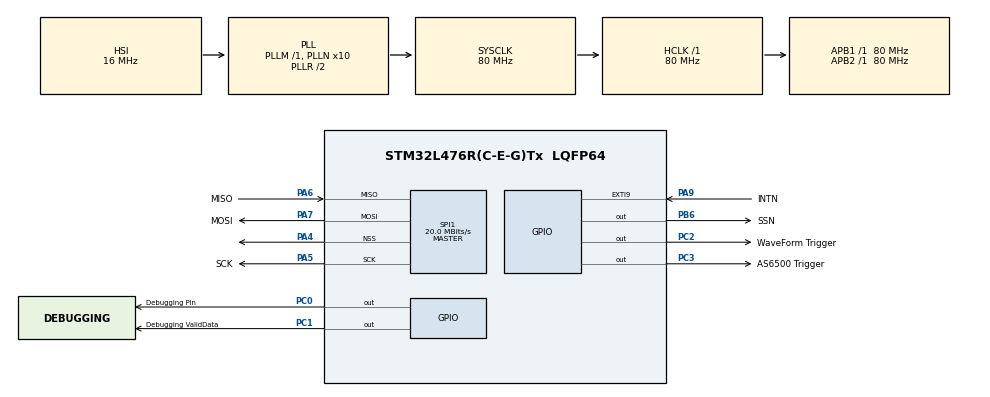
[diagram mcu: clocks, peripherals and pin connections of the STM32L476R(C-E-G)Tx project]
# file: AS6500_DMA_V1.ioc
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Dma.Request0=SPI1_RX
Dma.Request1=SPI1_TX
Dma.SPI1_RX.0.Direction=DMA_PERIPH_TO_MEMORY
Dma.SPI1_RX.0.Instance=DMA1_Channel2
Dma.SPI1_RX.0.MemDataAlignment=DMA_MDATAALIGN_BYTE
Dma.SPI1_RX.0.MemInc=DMA_MINC_ENABLE
Dma.SPI1_RX.0.Mode=DMA_NORMAL
Dma.SPI1_RX.0.PeriphDataAlignment=DMA_PDATAALIGN_BYTE
Dma.SPI1_RX.0.PeriphInc=DMA_PINC_DISABLE
Dma.SPI1_RX.0.Priority=DMA_PRIORITY_VERY_HIGH
Dma.SPI1_TX.1.Direction=DMA_MEMORY_TO_PERIPH
Dma.SPI1_TX.1.Instance=DMA1_Channel3
Dma.SPI1_TX.1.MemDataAlignment=DMA_MDATAALIGN_BYTE
Dma.SPI1_TX.1.MemInc=DMA_MINC_ENABLE
Dma.SPI1_TX.1.Mode=DMA_NORMAL
Dma.SPI1_TX.1.PeriphDataAlignment=DMA_PDATAALIGN_BYTE
Dma.SPI1_TX.1.PeriphInc=DMA_PINC_DISABLE
Dma.SPI1_TX.1.Priority=DMA_PRIORITY_VERY_HIGH
Mcu.Family=STM32L4
Mcu.Name=STM32L476R(C-E-G)Tx
Mcu.Package=LQFP64
NVIC.DMA1_Channel2_IRQn=true\:0\:0\:false\:false\:true\:false\:true\:true
NVIC.DMA1_Channel3_IRQn=true\:0\:0\:false\:false\:true\:false\:true\:true
NVIC.EXTI9_5_IRQn=true\:0\:0\:false\:false\:true\:true\:true\:true
NVIC.PriorityGroup=NVIC_PRIORITYGROUP_4
PA13\ (JTMS-SWDIO).GPIO_Label=TMS
PA13\ (JTMS-SWDIO).Mode=Serial_Wire
PA13\ (JTMS-SWDIO).Signal=SYS_JTMS-SWDIO
PA14\ (JTCK-SWCLK).GPIO_Label=TCK
PA14\ (JTCK-SWCLK).Mode=Serial_Wire
PA14\ (JTCK-SWCLK).Signal=SYS_JTCK-SWCLK
PA4.GPIO_Speed=GPIO_SPEED_FREQ_HIGH
PA4.Mode=NSS_Signal_Hard_Output
PA4.Signal=SPI1_NSS
PA5.GPIO_Label=SCK
PA5.GPIO_PuPd=GPIO_PULLDOWN
PA5.GPIO_Speed=GPIO_SPEED_FREQ_HIGH
PA5.Mode=Full_Duplex_Master
PA5.Signal=SPI1_SCK
PA6.GPIO_Label=MISO
PA6.GPIO_PuPd=GPIO_PULLDOWN
PA6.GPIO_Speed=GPIO_SPEED_FREQ_HIGH
PA6.Mode=Full_Duplex_Master
PA6.Signal=SPI1_MISO
PA7.GPIO_Label=MOSI
PA7.GPIO_PuPd=GPIO_PULLDOWN
PA7.GPIO_Speed=GPIO_SPEED_FREQ_HIGH
PA7.Mode=Full_Duplex_Master
PA7.Signal=SPI1_MOSI
PA9.GPIO_Label=INTN
PA9.GPIO_ModeDefaultEXTI=GPIO_MODE_IT_RISING_FALLING
PA9.GPIO_PuPd=GPIO_NOPULL
PA9.Signal=GPXTI9
PB3\ (JTDO-TRACESWO).GPIO_Label=SWO
PB3\ (JTDO-TRACESWO).Signal=SYS_JTDO-SWO
PB6.GPIO_FM6=__NULL
PB6.GPIO_Label=SSN
PB6.GPIO_PuPd=GPIO_PULLUP
PB6.GPIO_Speed=GPIO_SPEED_FREQ_HIGH
PB6.PinState=GPIO_PIN_SET
PB6.Signal=GPIO_Output
PC0.GPIO_Label=Debugging Pin
PC0.GPIO_PuPd=GPIO_PULLDOWN
PC0.GPIO_Speed=GPIO_SPEED_FREQ_HIGH
PC0.Signal=GPIO_Output
PC1.GPIO_Label=Debugging ValidData
PC1.GPIO_PuPd=GPIO_PULLDOWN
PC1.GPIO_Speed=GPIO_SPEED_FREQ_HIGH
PC1.Signal=GPIO_Output
PC2.GPIO_Label=WaveForm Trigger
PC2.GPIO_PuPd=GPIO_PULLDOWN
PC2.GPIO_Speed=GPIO_SPEED_FREQ_HIGH
PC2.Signal=GPIO_Output
PC3.GPIO_Label=AS6500 Trigger
PC3.GPIO_PuPd=GPIO_PULLDOWN
PC3.GPIO_Speed=GPIO_SPEED_FREQ_HIGH
PC3.Signal=GPIO_Output
ProjectManager.HeapSize=0x200
ProjectManager.StackSize=0x400
ProjectManager.TargetToolchain=STM32CubeIDE
RCC.ADCFreq_Value=64000000
RCC.AHBFreq_Value=80000000
RCC.APB1Freq_Value=80000000
RCC.APB1TimFreq_Value=80000000
RCC.APB2Freq_Value=80000000
RCC.APB2TimFreq_Value=80000000
RCC.CortexFreq_Value=80000000
RCC.HCLKFreq_Value=80000000
RCC.HSE_VALUE=8000000
RCC.HSI_VALUE=16000000
RCC.LSE_VALUE=32768
RCC.MSI_VALUE=4000000
RCC.PLLN=10
RCC.PLLSourceVirtual=RCC_PLLSOURCE_HSI
RCC.PREFETCH_ENABLE=1
RCC.SYSCLKFreq_VALUE=80000000
RCC.SYSCLKSource=RCC_SYSCLKSOURCE_PLLCLK
RCC.USBFreq_Value=64000000
RCC.VCOOutputFreq_Value=160000000
SPI1.BaudRatePrescaler=SPI_BAUDRATEPRESCALER_4
SPI1.CLKPhase=SPI_PHASE_2EDGE
SPI1.CalculateBaudRate=20.0 MBits/s
SPI1.DataSize=SPI_DATASIZE_8BIT
SPI1.Direction=SPI_DIRECTION_2LINES
SPI1.Mode=SPI_MODE_MASTER
SPI1.TIMode=SPI_TIMODE_DISABLE
SPI1.VirtualNSS=VM_NSSHARD
SPI1.VirtualType=VM_MASTER
board=NUCLEO-L476RG

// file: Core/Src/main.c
/* USER CODE BEGIN Header */
/**
  ******************************************************************************
  * @file           : main.c
  * @brief          : Main program body
  ******************************************************************************
  * @attention
  *
  * Copyright (c) 2022 STMicroelectronics.
  * All rights reserved.
  *
  * This software is licensed under terms that can be found in the LICENSE file
  * in the root directory of this software component.
  * If no LICENSE file comes with this software, it is provided AS-IS.
  *
  * This LIDAR example source code requires following equipment:
  * - TDC Device under test, e.g. AS6500
  * - Waveform Generator (W1/W2), (tx) triggered by STM32 and
  * 						(Rx) generates amount of pulses
  *	Used connection(s):
  *	- STM32 GPIO (PC3) --> AS6500 Trigger (RSTIDX)
  *	- STM32 GPIO (PC2) --> WaveFrom Trigger (T1)
  *	- Waveform (W1)    --> STOP2
  *	- WaveFrom (W2)    --> STOP1
  *	- Probe (1)        --> STOP2
  *	- Probe (2)        --> STOP1
  *	Optional connection(s):
  *	- STM32 GPIO (PC0) --> Waveform (DIO 5) - Debugging, showing Post Processing
  *	- STM32 GPIO (PC1) --> Waveform (DIO 6) - Simulate Noise Mask, Valid Data and Timeout Sequence
  *
  *	SPI Interface:
  * - STM32 GPIO (GND) --> (GND)
  * - STM32 GPIO (PA5) --> Waveform (DIO 1) - SCK
  * - STM32 GPIO (PA6) --> Waveform (DIO 3) - MISO
  * - STM32 GPIO (PA7) --> Waveform (DIO 2) - MOSI
  * - STM32 GPIO (PB6) --> Waveform (DIO 0) - SSN
  *
  *	- STM32 GPIO (PA9) --> Waveform (DIO 4) - INTN
  *
  * The mode of using SPI interface can be chosen with parameter My_SPI_Choice
  *  - 0 = HAL SPI     (default setting)
  *  - 1 = HAL DMA     (using DMA controller, but insufficient usage of SSN)
  *  - 2 = My DMA      (usage of simplified DMA, including SSN handling)
  *  - 3 = Combination (the try to use HAL SPI and HAL DMA together)
  ******************************************************************************
  */
/* USER CODE END Header */
#include "main.h"

/* USER CODE BEGIN Includes */
#include "user_spi_dma_interface.c"
#include "user_spi_interface.c"
#include "user_tools.c"

/* USER CODE END Includes */

/* USER CODE BEGIN PD */

// Opcode Hex / BIN Description / One Byte
#define spiopc_power        0x30	// = 0b00110000 Power on reset and stop measurement
#define spiopc_init         0x18	// = 0b00011000 Initializes Chip and starts measurement
#define spiopc_write_config 0x80	// = 0b100XXXXX 0x60 = 0b011XXXXX
#define spiopc_read_results 0x60	// = 0b011XXXXX Read opcode for result and status register X=8..31
#define spiopc_read_config  0x40	// = 0b010XXXXX Readout of configuration register X=0..16

/* USER CODE END PD */

/* USER CODE BEGIN PM */

// AS6500 Trigger (GPIO C3) --> RSTIDX
#define TDC_RSTIDX_PULSE {\
	AS6500_Trigger_GPIO_Port->BSRR = (uint32_t)AS6500_Trigger_Pin;\
	AS6500_Trigger_GPIO_Port->BRR = (uint32_t)AS6500_Trigger_Pin;\
	}

// Triggering WaveForm Generator via GPIO
// WaveFrom Trigger (GPIO C2) --> STOP1
#define LASER_TRIGGER_PULSE {\
	WaveForm_Trigger_GPIO_Port->BSRR = (uint32_t)WaveForm_Trigger_Pin;\
	WaveForm_Trigger_GPIO_Port->BRR = (uint32_t)WaveForm_Trigger_Pin;\
	}

#define DEBUG_PC0 {\
	Debugging_Pin_GPIO_Port->BSRR = (uint32_t)Debugging_Pin_Pin;\
	Debugging_Pin_GPIO_Port->BRR = (uint32_t)Debugging_Pin_Pin;\
	}

#define DEBUG_PC0_HIGH (Debugging_Pin_GPIO_Port->BSRR = (uint32_t)Debugging_Pin_Pin)

#define DEBUG_PC0_LOW (Debugging_Pin_GPIO_Port->BRR = (uint32_t)Debugging_Pin_Pin)

#define DEBUG_PC1_HIGH (Debugging_ValidData_GPIO_Port->BSRR = (uint32_t)Debugging_ValidData_Pin)

#define DEBUG_PC1_LOW (Debugging_ValidData_GPIO_Port->BRR = (uint32_t)Debugging_ValidData_Pin)

/* USER CODE END PM */

 SPI_HandleTypeDef hspi1;
DMA_HandleTypeDef hdma_spi1_rx;
DMA_HandleTypeDef hdma_spi1_tx;

/* USER CODE BEGIN PV */

/* empty configuration*/
uint8_t CFG_Empty [] = {
		0xFF, 0xFF, 0xFF, 0xFF,
		0xFF, 0xFF, 0xFF, 0xFF,
		0xFF, 0xFF, 0xFF, 0xFF,
		0xFF, 0xFF, 0xFF, 0xFF,
		0xFF, 0xFF, 0xFF, 0xFF
};

/* default configuration*/
uint8_t CFG_Registers [] = {
		0x31, 0x01, 0x1F, 0x40,
		0x0D, 0x03, 0xC0, 0x53,
		0xA1, 0x13, 0x00, 0x0A,
		0xCC, 0xCC, 0x31, 0x8E,
		0x04, 0x00, 0x00, 0x00
};

/* 5MHzRef_on_board config */
uint8_t CFG_DUT_Registers [] = {
		0x83, 0x03, 0x1D, 0x20,  //CFG 0 - PIN_ENA_RSTIDX bit[7] instead of 0x03 -->0x83
		0x4E, 0x00, 0xC0, 0xD3,  //CFG 3,4,5 - REFCLK_DEVISION = 20000
		0xA1, 0x13, 0x00, 0x0A,
		0xCC, 0xCC, 0xF1, 0x7D,
		0x04, 0x00, 0x00, 0x00
};

uint8_t CFG_DUT_Registers_DMA [] = {
		0x80,                    //spiopc_write_config
		0x83, 0x03, 0x1D, 0x20,  //CFG 0 - PIN_ENA_RSTIDX bit[7] instead of 0x03 -->0x83
		0x4E, 0x00, 0xC0, 0xD3,  //CFG 3,4,5 - REFCLK_DEVISION = 20000
		0xA1, 0x13, 0x00, 0x0A,
		0xCC, 0xCC, 0xF1, 0x7D,
		0x04, 0x00, 0x00, 0x00
};

volatile uint8_t My_SPI_Choice = 2; // 0 = HAL SPI // 1 = HAL DMA // 2 = My DMA // 3 = Combination
uint8_t mh_size = 18;

/* using cycle counter */
unsigned long t1 = 0; // current tick

float noisemask = 0.0;
float timeout = 0.0;
float postprocess = 0.0;
float trigger = 0.0;

int timeout_ONE = 0;
int process_DONE = 0;

static uint8_t Read_REG [20];

volatile uint32_t My_INTN_Counter = 0;
volatile uint8_t My_INTN_State = 1;
volatile uint8_t My_Valid_Data_State = 0;

volatile uint8_t MyResetIndex = 1;

uint32_t RD_Trigger = 0;

uint32_t timeout_count = 12800;
uint32_t RD_Timeout = 128;
volatile uint32_t Raw_Array[1000][4];

volatile float Last_REFID1 = 0, Last_REFID2 = 0;
volatile float Last_TSTOP1 = 0, Last_TSTOP2 = 0;

#define max_index 100 //defines the maximum of expected hits (e.g. 32)

volatile float DiffTSTOP[max_index] , DiffREFID[max_index] ;
volatile float Final_CALC[max_index];

volatile float My_Hit_01 = 0;
volatile float My_Hit_02 = 0;
volatile float My_Last_Hit = 0;
volatile uint32_t My_Clear_FIFO = 0;

volatile uint8_t Valid_TSTOP1 = 0, Valid_TSTOP2 = 0, Calc_Diff = 0;

uint32_t fifo_size = 0;

uint32_t FIFO_Expect_Burst = 32; // number of expected STOP pulses, max.

volatile uint32_t Calc_Index = 0; 		// Index of calculated arrays
volatile uint32_t WR_Index = 0; // Write into Raw_Array[]
volatile uint32_t RD_Index = 0; // Read from Raw_Array[]

//uint32_t REFCLK_DIVISIONS = 200000; //REF Clock = 5 MHz, Period = 200ns
volatile uint32_t REFCLK_DIVISIONS = 20000;

/* USER CODE END PV */

void SystemClock_Config(void);
static void MX_GPIO_Init(void);
static void MX_DMA_Init(void);
static void MX_SPI1_Init(void);
/* USER CODE BEGIN PFP */

void HAL_GPIO_EXTI_Callback(uint16_t GPIO_Pin);
void HAL_SPI_TxCpltCallback(SPI_HandleTypeDef *hspi);
void HAL_SPI_RxCpltCallback(SPI_HandleTypeDef * hspi);
void HAL_SPI_TxRxCpltCallback(SPI_HandleTypeDef * hspi);

void POST_Processing(void);
void Trigger_Generation(void);

void HAL_SPI_MY_TransmitReceive_DMA(SPI_HandleTypeDef *hspi, uint8_t *pTxData, uint8_t *pRxData, uint16_t Size);
void HAL_SPI_MY_Transmit_DMA(SPI_HandleTypeDef *hspi, uint8_t *pTxData, uint16_t Size);

/* USER CODE END PFP */

int main(void)
{

  /* MCU Configuration--------------------------------------------------------*/

  /* Reset of all peripherals, Initializes the Flash interface and the Systick. */
  HAL_Init();

  /* Configure the system clock */
  SystemClock_Config();

  /* Initialize all configured peripherals */
  MX_GPIO_Init();
  MX_DMA_Init();
  MX_SPI1_Init();
  /* USER CODE BEGIN 2 */

  ENABLE_CYCLE_COUNTER;

  noisemask = TIME_MICRO(100);
  timeout = TIME_MICRO(1000);
  postprocess = TIME_MILLI(2.5);
  trigger = TIME_MILLI(50);

  uint8_t TX_Array[1];

  // Illustrates the different read/write sequences
  switch(My_SPI_Choice){
  case 0:
	  // with HAL SPI - works
	  Write_Opcode(spiopc_power); // --> INTN goes high
	  Delay_100us(1); // 100us, Delay between power-on or initialisation reset and next communication
	  Write_Byte_Auto_Incr_Lite(spiopc_write_config, 0, CFG_DUT_Registers, 16);
	  Read_Byte_Auto_Incr_Lite(spiopc_read_config, 0, Read_REG, 16);
	  Write_Opcode(spiopc_init); // --> INTN goes low
	  break;
  case 1:
	  // with HAL DMA - doesn't work, due to insufficient handling of SSN (HARDWARE/SOFTWARE)
	  TX_Array[0] = spiopc_power;
	  SSN_GPIO_Port->BRR = (uint32_t)SSN_Pin;
	  HAL_SPI_Transmit_DMA(&hspi1, TX_Array, 1); //HAL_SPI_TxCpltCallback (max size = 2)
	  Delay_100us(1);
	  SSN_GPIO_Port->BRR = (uint32_t)SSN_Pin;
	  HAL_SPI_Transmit_DMA(&hspi1, CFG_DUT_Registers_DMA, mh_size); //18
	  HAL_DMA_Abort(&hdma_spi1_tx);
	  SSN_GPIO_Port->BSRR = (uint32_t)SSN_Pin;
	  CFG_Empty[0]=spiopc_read_config;
	  SSN_GPIO_Port->BRR = (uint32_t)SSN_Pin;
	  HAL_SPI_TransmitReceive_DMA(&hspi1, CFG_Empty, Read_REG, 18);
	  TX_Array[0] = spiopc_init;
	  SSN_GPIO_Port->BRR = (uint32_t)SSN_Pin;
	  HAL_SPI_Transmit_DMA(&hspi1, TX_Array, 1); // _MH: INTN is toggling ?!?
	  break;
  case 2:
	  // with MY DMA - works
	  TX_Array[0] = spiopc_power;
	  TX_Array[0] = 0;
	  My_Transmit_DMA(TX_Array, 1);
	  Delay_100us(1);
	  My_Transmit_DMA(CFG_DUT_Registers_DMA, 18);
	  CFG_Empty[0]=spiopc_read_config;
	  My_TransmitReceive_DMA(CFG_Empty, Read_REG, 18);
	  TX_Array[0] = spiopc_init;
	  TX_Array[0] = 0;
	  My_Transmit_DMA(TX_Array, 1); // _MH: INTN is toggling ?!?
	  break;
  case 3:
	  // combine without DMA and DMA -
	  Write_Opcode(spiopc_power); // --> INTN goes high
	  Delay_100us(1); // 100us, Delay between power-on or initialisation reset and next communication
	  Write_Byte_Auto_Incr_Lite(spiopc_write_config, 0, CFG_DUT_Registers, 16);
	  //Read_Byte_Auto_Incr_Lite(spiopc_read_config, 0, Read_REG, 16);
	  Read_Byte_Auto_Incr_Lite(spiopc_read_config, 0, Read_REG, 16);
	  CFG_Empty[0]=spiopc_read_config;
	  My_TransmitReceive_DMA(CFG_Empty, Read_REG, 18);
	  Write_Opcode(spiopc_init); // --> INTN goes low
	  break;
  default:
	  My_SPI_Choice = 0;
  }

  //Trigger_Generation();

  // TEST Loop
  // STOP2 -> Rx channel with 32 pulses
  // STOP1 -> Tx channel, Start Trigger with 20 Hz (period = 50 ms)
  // After evaluation, reset RSTIDX

  // Note for HAL_SPI_TransmitReceive()
  // It is needed to uses same array size for spiTx and spiRX
  // for example: 1x spiTX and 12x spiRX --> array size = 13
  uint8_t spiTX[14] = {0, 0, 0, 0, 0, 0, 0, 0, 0, 0, 0, 0, 0, 0};
  uint8_t spiRX[14] = {0, 0, 0, 0, 0, 0, 0, 0, 0, 0, 0, 0, 0, 0}; // Max. Reading 4x (REF_IDX[3 Bytes], TSTOP[3 Bytes]), plus 8 Bytes
  uint8_t RD_x_Bytes = 12;

  spiTX[0] = 0x68; // Opcode + Address

  uint8_t shift_index = 0;

  /* USER CODE END 2 */

  /* Infinite loop */
  while (1)
  {

    /* USER CODE BEGIN 3 */

	  RD_Trigger++;

	  /*******************************************************************/
	  /* Improvement of Noise Mask Window                                */
	  /* SOFTWARE ENABLE (HIT_ENA_STOP1…4)                               */
	  /*   Setting the configuration bits HIT_ENA_STOP1 to HIT_ENA_STOP4 */
	  /*   applies a software enable for stop channels 1 to 4.           */
	  /*******************************************************************/
	  if ( (TIME_DIFF_TO(t1) > noisemask) && (timeout_ONE == 0) ) {
		  DEBUG_PC1_HIGH;
		  My_Valid_Data_State = 1;
	  }

	  // Read Loop as soon as INTN = 0
	  while ( (My_INTN_State == 0) )//&& (RD_Trigger > RD_Timeout) )
	  {
		  // Note: AS6500 Data Sheet, Section 8.8.4
		  //       FIFOs for Adapting Peak and Average Conversion Rate

		  spiTX[0] = 0x68;
		  shift_index = 1; // Related to TransmitReceive, Offset of Rx Array
		  CLEAR(spiRX); // clearing array take about 1.5us

		  switch(My_SPI_Choice){
		  case 0:
			  // HAL SPI
			  SSN_GPIO_Port->BRR = (uint32_t)SSN_Pin;		// 1. Put SSN low - Activate, SSN -> CLK = 3.6us
			  HAL_SPI_TransmitReceive(&hspi1, spiTX, spiRX, 1 + RD_x_Bytes, 10); // interbyte gaps = 2.2us
			  SSN_GPIO_Port->BSRR = (uint32_t)SSN_Pin;	// 4. Put SSN high - Deactivate, CLK -> SSN = 8us
			  break;
		  case 1: // reading does not work, due to insufficient handling of SSN (HARDWARE/SOFTWARE)
			  //HAL_SPI_DMAResume(&hspi1);
			  SSN_GPIO_Port->BRR = (uint32_t)SSN_Pin;

			  HAL_SPI_TransmitReceive_DMA(&hspi1, spiTX, spiRX, (uint16_t)(1 + RD_x_Bytes));
			  // readout incorrect!!

			  // Note:
			  /* It's called buffer overflow. Provider that spi_dma_tx is your MOSI message. Check
			   * your memory map if spi_dma_tx is allocated just after spi_dma_rx_. Use a watchpoint
			   * to break on all writes to spi_dma_tx. Are you sure that the fourth parameter of
			   * HAL_SPI_TransmitReceive_DMA is valid on both transmission and reception?
			   * Check the omitted routine after reception. */

			  break;
		  case 2:
			  // MY DMA
			  My_TransmitReceive_DMA(spiTX, spiRX, 1 + RD_x_Bytes);
			  break;
		  case 3: // reading does not work!!
			  //REFID1[ 8:10] TSTOP1 [11:13]
			  //REFID2[14:16] TSTOP2 [17:19]
			  //REFID3[20:22] TSTOP3 [23:25]
			  //REFID4[26:28] TSTOP4 [29:31]

			  SSN_GPIO_Port->BRR = (uint32_t)SSN_Pin;

			  HAL_SPI_Transmit_DMA(&hspi1, spiTX, 1);
			  shift_index=0;
			  HAL_SPI_Receive_DMA(&hspi1, spiRX, RD_x_Bytes);
			  // readout incorrect!!

			  break;
		  default:
			  My_SPI_Choice = 0;
		  }

		  /*****************************************************************/
		  /* Improvement of Valid Data State                               */
		  /* Verify calculated time difference with used Noise Mask Window */
		  /* and add only valid data into array                            */
		  /*****************************************************************/
		  if ( spiRX[shift_index+3] != 0xFF ||  //if (MSB of REFID1 != 0xFF)
				  (My_Valid_Data_State == 1)) { //My_Valid_Data_State == 1
			  // Concatenate of bytes (from MSB to LSB)
			  Raw_Array[WR_Index][0] = (spiRX[shift_index+0]<<16) + (spiRX[shift_index+1] <<8) + (spiRX[shift_index+2] );
			  Raw_Array[WR_Index][1] = (spiRX[shift_index+3]<<16) + (spiRX[shift_index+4] <<8) + (spiRX[shift_index+5] );
			  Raw_Array[WR_Index][2] = (spiRX[shift_index+6]<<16) + (spiRX[shift_index+7] <<8) + (spiRX[shift_index+8] );
			  Raw_Array[WR_Index][3] = (spiRX[shift_index+9]<<16) + (spiRX[shift_index+10]<<8) + (spiRX[shift_index+11]);

			  // Increase index of array to accumulate next value
			  WR_Index++;

	  	  }

	  } // End of WHILE() or IF(My_INTN_State==0)

	  if ( (TIME_DIFF_TO(t1) > timeout) && (timeout_ONE == 0) ) {
		  DEBUG_PC1_LOW;
		  timeout_ONE = 1; //set timeout, only once
		  My_Valid_Data_State = 0;
	  }

	  // Post Processing after reading new RAW Data, including timeout after last STOPx
	  if ( (RD_Index != WR_Index) && (TIME_DIFF_TO(t1) > postprocess) )
	  {
//-->
		  // Debugging (GPIO C0)
		  DEBUG_PC0_HIGH;

		  POST_Processing();
		  process_DONE = 1; // post processing is done!

		  My_Hit_01 = Final_CALC[0];
		  My_Hit_02 = Final_CALC[1];
		  if (Calc_Index > 0)
		  {
			  My_Last_Hit = Calc_Index;
		  }

//-->
		  // Debugging (GPIO C0)
		  DEBUG_PC0_LOW;

	  } // End of WHILE() or IF(My_INTN_State==1)

	  if (TIME_DIFF_TO(t1) > trigger)
	  {
		  // Reset Index
		  if (MyResetIndex != 0)
		  {
			  WR_Index = 0;
			  RD_Index = 0;
			  Calc_Index = 0;
		  }

		  Trigger_Generation();
		  RD_Trigger = 0;

		  // Set Cycle Counter t1
		  t1 = DWT->CYCCNT;
		  DEBUG_PC1_LOW;
		  timeout_ONE = 0; // clear timeout
		  process_DONE = 0; // clear postprocess
	  }

  }
  /* USER CODE END 3 */
}

void SystemClock_Config(void)
{
  RCC_OscInitTypeDef RCC_OscInitStruct = {0};
  RCC_ClkInitTypeDef RCC_ClkInitStruct = {0};

  /** Configure the main internal regulator output voltage
  */
  if (HAL_PWREx_ControlVoltageScaling(PWR_REGULATOR_VOLTAGE_SCALE1) != HAL_OK)
  {
    Error_Handler();
  }

  /** Initializes the RCC Oscillators according to the specified parameters
  * in the RCC_OscInitTypeDef structure.
  */
  RCC_OscInitStruct.OscillatorType = RCC_OSCILLATORTYPE_HSI;
  RCC_OscInitStruct.HSIState = RCC_HSI_ON;
  RCC_OscInitStruct.HSICalibrationValue = RCC_HSICALIBRATION_DEFAULT;
  RCC_OscInitStruct.PLL.PLLState = RCC_PLL_ON;
  RCC_OscInitStruct.PLL.PLLSource = RCC_PLLSOURCE_HSI;
  RCC_OscInitStruct.PLL.PLLM = 1;
  RCC_OscInitStruct.PLL.PLLN = 10;
  RCC_OscInitStruct.PLL.PLLP = RCC_PLLP_DIV7;
  RCC_OscInitStruct.PLL.PLLQ = RCC_PLLQ_DIV2;
  RCC_OscInitStruct.PLL.PLLR = RCC_PLLR_DIV2;
  if (HAL_RCC_OscConfig(&RCC_OscInitStruct) != HAL_OK)
  {
    Error_Handler();
  }

  /** Initializes the CPU, AHB and APB buses clocks
  */
  RCC_ClkInitStruct.ClockType = RCC_CLOCKTYPE_HCLK|RCC_CLOCKTYPE_SYSCLK
                              |RCC_CLOCKTYPE_PCLK1|RCC_CLOCKTYPE_PCLK2;
  RCC_ClkInitStruct.SYSCLKSource = RCC_SYSCLKSOURCE_PLLCLK;
  RCC_ClkInitStruct.AHBCLKDivider = RCC_SYSCLK_DIV1;
  RCC_ClkInitStruct.APB1CLKDivider = RCC_HCLK_DIV1;
  RCC_ClkInitStruct.APB2CLKDivider = RCC_HCLK_DIV1;

  if (HAL_RCC_ClockConfig(&RCC_ClkInitStruct, FLASH_LATENCY_4) != HAL_OK)
  {
    Error_Handler();
  }
}

static void MX_SPI1_Init(void)
{

  /* SPI1 parameter configuration*/
  hspi1.Instance = SPI1;
  hspi1.Init.Mode = SPI_MODE_MASTER;
  hspi1.Init.Direction = SPI_DIRECTION_2LINES;
  hspi1.Init.DataSize = SPI_DATASIZE_8BIT;
  hspi1.Init.CLKPolarity = SPI_POLARITY_LOW;
  hspi1.Init.CLKPhase = SPI_PHASE_2EDGE;
  hspi1.Init.NSS = SPI_NSS_HARD_OUTPUT;
  hspi1.Init.BaudRatePrescaler = SPI_BAUDRATEPRESCALER_4;
  hspi1.Init.FirstBit = SPI_FIRSTBIT_MSB;
  hspi1.Init.TIMode = SPI_TIMODE_DISABLE;
  hspi1.Init.CRCCalculation = SPI_CRCCALCULATION_DISABLE;
  hspi1.Init.CRCPolynomial = 7;
  hspi1.Init.CRCLength = SPI_CRC_LENGTH_DATASIZE;
  hspi1.Init.NSSPMode = SPI_NSS_PULSE_DISABLE;
  if (HAL_SPI_Init(&hspi1) != HAL_OK)
  {
    Error_Handler();
  }

}

static void MX_DMA_Init(void)
{

  /* DMA controller clock enable */
  __HAL_RCC_DMA1_CLK_ENABLE();

  /* DMA interrupt init */
  /* DMA1_Channel2_IRQn interrupt configuration */
  HAL_NVIC_SetPriority(DMA1_Channel2_IRQn, 0, 0);
  HAL_NVIC_EnableIRQ(DMA1_Channel2_IRQn);
  /* DMA1_Channel3_IRQn interrupt configuration */
  HAL_NVIC_SetPriority(DMA1_Channel3_IRQn, 0, 0);
  HAL_NVIC_EnableIRQ(DMA1_Channel3_IRQn);

}

static void MX_GPIO_Init(void)
{
  GPIO_InitTypeDef GPIO_InitStruct = {0};

  /* GPIO Ports Clock Enable */
  __HAL_RCC_GPIOC_CLK_ENABLE();
  __HAL_RCC_GPIOA_CLK_ENABLE();
  __HAL_RCC_GPIOB_CLK_ENABLE();

  /*Configure GPIO pin Output Level */
  HAL_GPIO_WritePin(GPIOC, Debugging_Pin_Pin|Debugging_ValidData_Pin|WaveForm_Trigger_Pin|AS6500_Trigger_Pin, GPIO_PIN_RESET);

  /*Configure GPIO pin Output Level */
  HAL_GPIO_WritePin(SSN_GPIO_Port, SSN_Pin, GPIO_PIN_SET);

  /*Configure GPIO pins : Debugging_Pin_Pin Debugging_ValidData_Pin WaveForm_Trigger_Pin AS6500_Trigger_Pin */
  GPIO_InitStruct.Pin = Debugging_Pin_Pin|Debugging_ValidData_Pin|WaveForm_Trigger_Pin|AS6500_Trigger_Pin;
  GPIO_InitStruct.Mode = GPIO_MODE_OUTPUT_PP;
  GPIO_InitStruct.Pull = GPIO_PULLDOWN;
  GPIO_InitStruct.Speed = GPIO_SPEED_FREQ_HIGH;
  HAL_GPIO_Init(GPIOC, &GPIO_InitStruct);

  /*Configure GPIO pin : INTN_Pin */
  GPIO_InitStruct.Pin = INTN_Pin;
  GPIO_InitStruct.Mode = GPIO_MODE_IT_RISING_FALLING;
  GPIO_InitStruct.Pull = GPIO_NOPULL;
  HAL_GPIO_Init(INTN_GPIO_Port, &GPIO_InitStruct);

  /*Configure GPIO pin : SSN_Pin */
  GPIO_InitStruct.Pin = SSN_Pin;
  GPIO_InitStruct.Mode = GPIO_MODE_OUTPUT_PP;
  GPIO_InitStruct.Pull = GPIO_PULLUP;
  GPIO_InitStruct.Speed = GPIO_SPEED_FREQ_HIGH;
  HAL_GPIO_Init(SSN_GPIO_Port, &GPIO_InitStruct);

  /* EXTI interrupt init*/
  HAL_NVIC_SetPriority(EXTI9_5_IRQn, 0, 0);
  HAL_NVIC_EnableIRQ(EXTI9_5_IRQn);

}

/* USER CODE BEGIN 4 */

void HAL_GPIO_EXTI_Callback(uint16_t GPIO_Pin)
{
	/* stm32l4xx_hal_gpio.c */

	/* Prevent unused argument(s) compilation warning */
	UNUSED(GPIO_Pin);

	// Note: It takes about 1us after INTN
	//Debugging_Pin_GPIO_Port->BSRR = (uint32_t)Debugging_Pin_Pin; // SET
	//Debugging_Pin_GPIO_Port->BRR = (uint32_t)Debugging_Pin_Pin; // RESET

	if (GPIO_Pin == INTN_Pin) {
		My_INTN_State = (HAL_GPIO_ReadPin(INTN_GPIO_Port, INTN_Pin) == GPIO_PIN_SET); /* low active */
		if (My_INTN_State == 0) {
			My_INTN_Counter += 1;
		}
	}

	//HAL_GPIO_TogglePin(Debugging_Pin_GPIO_Port, Debugging_Pin_Pin);
}

/**
* @brief This function handles DMA1 Stream4 global interrupt.
*/

void HAL_SPI_TxCpltCallback(SPI_HandleTypeDef *hspi)
{
    // TX-RX Done .. Do Something ...

	//SSN_GPIO_Port->BSRR = (uint32_t)SSN_Pin;			// Put SSN high - Deactivate
	// Debugging (GPIO C0)
	DEBUG_PC0;
}

void HAL_SPI_RxCpltCallback(SPI_HandleTypeDef * hspi)
{
    // TX-RX Done .. Do Something ...

	SSN_GPIO_Port->BSRR = (uint32_t)SSN_Pin;			// Put SSN high - Deactivate
	// Debugging (GPIO C0)
	DEBUG_PC0;
}

void HAL_SPI_TxRxCpltCallback(SPI_HandleTypeDef * hspi)
{
    // TX-RX Done .. Do Something ...
	while((hspi->Instance->SR & SPI_SR_RXNE)!=RESET);	// Receive buffer Not Empty
	while((hspi->Instance->SR & SPI_SR_BSY)!=RESET); 	// Busy flag
	SSN_GPIO_Port->BSRR = (uint32_t)SSN_Pin;			// Put SSN high - Deactivate
	// Debugging (GPIO C0)
	DEBUG_PC0;
	//HAL_SPI_Abort(&hspi1); // trail to remove second read out, using HAL DMA
	//HAL_SPI_DMAPause(&hspi1);

}

void POST_Processing(void)
{
	for (int i = 0; i < (WR_Index-RD_Index); i++)
	{
		// Recognition of Last Valid Result for STOP Channel (TX)
		if ( (Raw_Array[RD_Index][0] != 0x00FFFFFF) && (Raw_Array[RD_Index][1] != 0x00FFFFFF) )
		{
			Last_REFID1 = Raw_Array[RD_Index][0];
			Last_TSTOP1 = Raw_Array[RD_Index][1];
			Valid_TSTOP1 = 1;

			Valid_TSTOP2 = 0;
			Calc_Diff = 0;
		}

		// Recognition of Last Valid Result for STOP Channel (RX)
		if ( (Raw_Array[RD_Index][2] != 0x00FFFFFF) && (Raw_Array[RD_Index][3] != 0x00FFFFFF) )
		{
			Last_REFID2 = Raw_Array[RD_Index][2];
			Last_TSTOP2 = Raw_Array[RD_Index][3];
			Valid_TSTOP2 = 1;

		}

		RD_Index++;

		//Execution, only as soon as both channels have last value.
		if ((Valid_TSTOP1 == 1) && (Valid_TSTOP2 == 1))
		{
			// Calculation of STOP2 minus STOP1
			DiffTSTOP[Calc_Index] = ( Last_TSTOP2 - Last_TSTOP1 );
			DiffREFID[Calc_Index] = ( Last_REFID2 - Last_REFID1 );

			Final_CALC[Calc_Index] = ( (DiffTSTOP[Calc_Index]) + (DiffREFID[Calc_Index] * REFCLK_DIVISIONS) );
			Final_CALC[Calc_Index] /= 100000; //Result in [us]

			if ( (Final_CALC[Calc_Index] > 0) )
			{
				Calc_Index++; // pointer at next address.
				Calc_Diff++; // counting calculated difference (STOP2 - STOP1)

			}

		} // End of IF (..Validation)

	} // End of FOR Loop

	return;
}

void Trigger_Generation(void)
{
	// Unlock Blocked FIFO
	// FIFO full -> FIFO blocked, then further pulses are lost.
	// There must be unlocked with two dummy pulses.

	// Unlocking of FIFO with 2 dummy STOPS (plus 1 safety), (because of synchronisation) when FIFO was full once
	// Or unlocking of FIFO by POR + WR configuration once again

	// t.b.d.

	//clear FIFO before restarting
	My_Clearing_All_FIFOs();
	//Clearing_All_FIFOs();

	// Debugging (GPIO C0)
	//HAL_GPIO_TogglePin(Debugging_Pin_GPIO_Port, Debugging_Pin_Pin);

	// Clearing RSTIDX: Reference Index Counter Reset, has to be activated with PIN_ENA_RSTIDX.
	// AS6500 Trigger (GPIO C3) --> RSTIDX
	//AS6500_Trigger_GPIO_Port->BSRR = (uint32_t)AS6500_Trigger_Pin; // SET
	//AS6500_Trigger_GPIO_Port->BRR = (uint32_t)AS6500_Trigger_Pin; // RESET

	TDC_RSTIDX_PULSE;

	// Triggering WaveForm Generator via GPIO
	// WaveFrom Trigger (GPIO C2) --> STOP1
	//WaveForm_Trigger_GPIO_Port->BSRR = (uint32_t)WaveForm_Trigger_Pin; // SET
	//WaveForm_Trigger_GPIO_Port->BRR = (uint32_t)WaveForm_Trigger_Pin; // RESET

	LASER_TRIGGER_PULSE;

	return;
}

/*git hub - spi.c*/
void HAL_SPI_MY_TransmitReceive_DMA(SPI_HandleTypeDef *hspi, uint8_t *pTxData, uint8_t *pRxData, uint16_t Size)
{
	hspi->Instance->CR2 |= SPI_CR2_TXDMAEN;							// Enable Tx DMA Request
	hspi->Instance->CR2 |= SPI_CR2_RXDMAEN;							// Enable Rx DMA Request

	hdma_spi1_tx.Instance->CCR &= ~DMA_CCR_EN;						// Channel enable
	hdma_spi1_tx.Instance->CPAR = (uint32_t)&hspi->Instance->DR;	// DMA channel x peripheral address register
	hdma_spi1_tx.Instance->CMAR = (uint32_t)pTxData;				// DMA channel x memory address register
	hdma_spi1_tx.Instance->CNDTR = Size;							// DMA channel x number of data register

	// Put SSN low - Activate
	//HAL_GPIO_WritePin(GPIOA, GPIO_PIN_15, GPIO_PIN_RESET);
	SSN_GPIO_Port->BRR = (uint32_t)SSN_Pin;

	hdma_spi1_tx.Instance->CCR |= DMA_CCR_EN;						// Channel enable
	hdma_spi1_rx.Instance->CCR &= ~DMA_CCR_EN;						// Channel enable
	hdma_spi1_rx.Instance->CPAR = (uint32_t)&hspi->Instance->DR;	// DMA channel x peripheral address register
	hdma_spi1_rx.Instance->CMAR = (uint32_t)pRxData;				// DMA channel x memory address register
	hdma_spi1_rx.Instance->CNDTR = Size;							// DMA channel x number of data register
	hdma_spi1_rx.Instance->CCR |= DMA_CCR_EN;						// Channel enable

	hspi->Instance->CR1 |= SPI_CR1_SPE;								// SPI Enable

	while((hspi->Instance->SR & SPI_SR_RXNE)!=RESET); // Receive buffer Not Empty
	while((hspi->Instance->SR & SPI_SR_BSY)!=RESET); // Busy flag

	// Put SSN high - Deactivate
	//HAL_GPIO_WritePin(GPIOA, GPIO_PIN_15, GPIO_PIN_SET);
	SSN_GPIO_Port->BSRR = (uint32_t)SSN_Pin;
}

void HAL_SPI_MY_Transmit_DMA(SPI_HandleTypeDef *hspi, uint8_t *pTxData, uint16_t Size)
{
	// Work Around
	// Tx and Rx uses the same DMA channel x memory address register
	hspi->Instance->CR2 |= SPI_CR2_TXDMAEN;							// Enable Tx DMA Request
	hspi->Instance->CR2 |= SPI_CR2_RXDMAEN;							// Enable Rx DMA Request

	hdma_spi1_tx.Instance->CCR &= ~DMA_CCR_EN;						// Channel enable
	hdma_spi1_tx.Instance->CPAR = (uint32_t)&hspi->Instance->DR;	// DMA channel x peripheral address register
	hdma_spi1_tx.Instance->CMAR = (uint32_t)pTxData;				// DMA channel x memory address register
	hdma_spi1_tx.Instance->CNDTR = Size;							// DMA channel x number of data register

	// Put SSN low - Activate
	//HAL_GPIO_WritePin(GPIOA, GPIO_PIN_15, GPIO_PIN_RESET);
	SSN_GPIO_Port->BRR = (uint32_t)SSN_Pin;

	hdma_spi1_tx.Instance->CCR |= DMA_CCR_EN;						// Channel enable
	hdma_spi1_rx.Instance->CCR &= ~DMA_CCR_EN;						// Channel enable
	hdma_spi1_rx.Instance->CPAR = (uint32_t)&hspi->Instance->DR;	// DMA channel x peripheral address register
	hdma_spi1_rx.Instance->CMAR = (uint32_t)pTxData;				// DMA channel x memory address register
	hdma_spi1_rx.Instance->CNDTR = Size;							// DMA channel x number of data register
	hdma_spi1_rx.Instance->CCR |= DMA_CCR_EN;						// Channel enable

	hspi->Instance->CR1 |= SPI_CR1_SPE;								// SPI Enable

	while((hspi->Instance->SR & SPI_SR_RXNE)!=RESET); // Receive buffer Not Empty
	while((hspi->Instance->SR & SPI_SR_BSY)!=RESET); // Busy flag

	// Put SSN high - Deactivate
	//HAL_GPIO_WritePin(GPIOA, GPIO_PIN_15, GPIO_PIN_SET);
	SSN_GPIO_Port->BSRR = (uint32_t)SSN_Pin;
}
/*
// Put SSN low - Activate
SSN_GPIO_Port->BRR = (uint32_t)SSN_Pin;
// Put SSN high - Deactivate
SSN_GPIO_Port->BSRR = (uint32_t)SSN_Pin;
*/

/* USER CODE END 4 */

void Error_Handler(void)
{
  __disable_irq();
  while (1)
  {
  }
}
